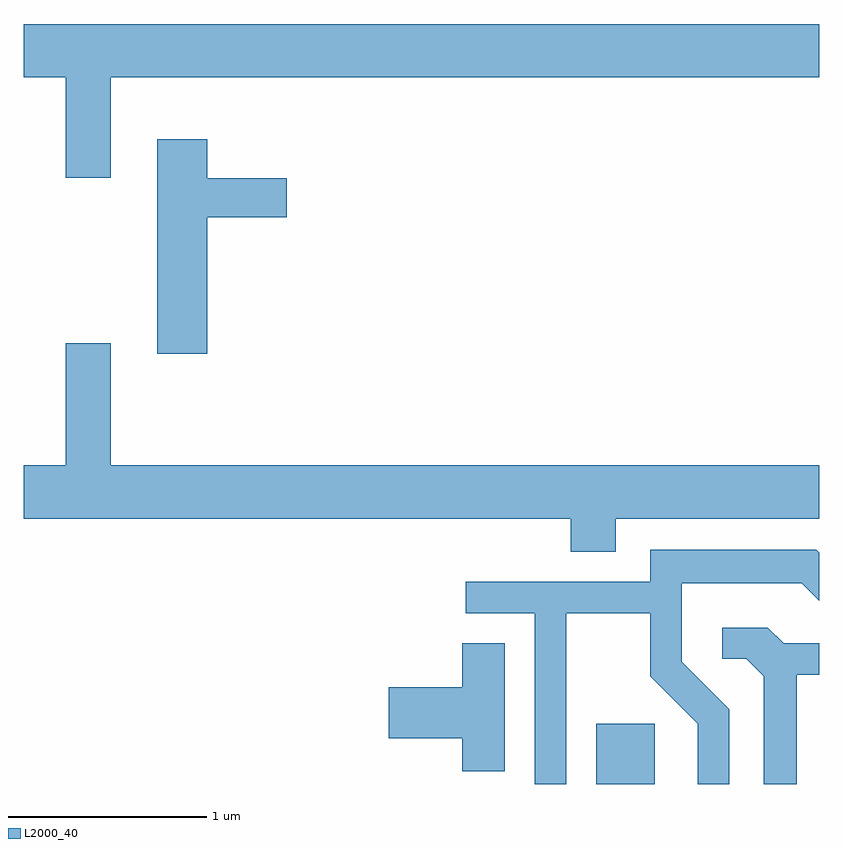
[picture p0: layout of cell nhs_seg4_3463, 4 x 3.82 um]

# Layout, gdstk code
import gdstk
lib = gdstk.Library(unit=1e-6, precision=1e-09)
def R(c, l, rs):  # rectangles x0, y0, x1, y1
    for r in rs: c.add(gdstk.rectangle(r[:2], r[2:], *l))
def P(c, l, *ps):  # polygons
    for p in ps: c.add(gdstk.Polygon(p, *l))
L2000_40 = (2000, 40)

nhs_seg4_3463 = lib.new_cell('nhs_seg4_3463')
R(nhs_seg4_3463, L2000_40, [(288.491,1379.982,288.784,1380.284)])
P(nhs_seg4_3463, L2000_40, [(286.049,1383.536),(289.611,1383.536),(289.611,1383.804),(285.611,1383.804),(285.611,1383.536),(285.821,1383.536),(285.821,1383.031),(286.049,1383.031)],
  [(286.534,1382.831),(286.934,1382.831),(286.934,1383.029),(286.534,1383.029),(286.534,1383.224),(286.281,1383.224),(286.281,1382.146),(286.534,1382.146)],
  [(288.589,1381.316),(289.611,1381.316),(289.611,1381.584),(286.049,1381.584),(286.049,1382.199),(285.821,1382.199),(285.821,1381.584),(285.611,1381.584),(285.611,1381.316),(288.361,1381.316),(288.361,1381.151),(288.589,1381.151)],
  [(288.339,1380.841),(288.761,1380.841),(288.761,1380.524),(289.001,1380.284),(289.001,1379.982),(289.159,1379.982),(289.159,1380.357),(288.919,1380.597),(288.919,1380.991),(289.524,1380.991),(289.611,1380.904),(289.611,1381.145),(289.597,1381.159),(288.761,1381.159),(288.761,1380.999),(287.833,1380.999),(287.833,1380.841),(288.181,1380.841),(288.181,1379.982),(288.339,1379.982)],
  [(289.499,1380.531),(289.611,1380.531),(289.611,1380.689),(289.432,1380.689),(289.352,1380.769),(289.123,1380.769),(289.123,1380.611),(289.244,1380.611),(289.331,1380.524),(289.331,1379.982),(289.499,1379.982)],
  [(288.029,1380.689),(287.816,1380.689),(287.816,1380.469),(287.446,1380.469),(287.446,1380.211),(287.816,1380.211),(287.816,1380.046),(288.029,1380.046)])

lib.write_gds('nhs_seg4_3463.gds')
